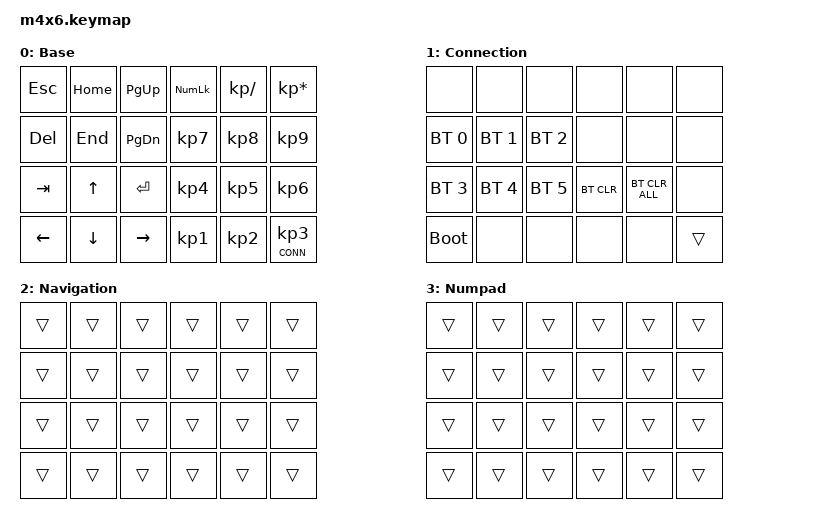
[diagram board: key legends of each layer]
#include <behaviors.dtsi>
#include <dt-bindings/zmk/keys.h>
#include <dt-bindings/zmk/bt.h>
#include <dt-bindings/zmk/outputs.h>

#define BASE 0
#define CONN 1
#define NAV  2
#define NUM  3

// Reserved layers for future expansion
// #define RSV1 4
// #define RSV2 5

/ {
    // Tell ZMK Studio to preserve and expect these empty layers
    studio_properties {
        compatible = "zmk,studio-properties";
        reserved-layers = <1 2>; 
    };

    keymap {
        compatible = "zmk,keymap";

        // LAYER 0: BASE LAYER
        // Nav Cluster (Left 3 cols)  |  Numpad (Right 3 cols)
        base_layer {
            display-name = "Base";
            bindings = <
                &kp ESC    &kp HOME  &kp PG_UP    &kp KP_NUM  &kp KP_DIVIDE  &kp KP_MULTIPLY
                &kp DEL    &kp END   &kp PG_DN    &kp KP_N7   &kp KP_N8      &kp KP_N9
                &kp TAB    &kp UP    &kp ENTER    &kp KP_N4   &kp KP_N5      &kp KP_N6
                &kp LEFT   &kp DOWN  &kp RIGHT    &kp KP_N1   &kp KP_N2      &lt CONN KP_N3
            >;
        };


        // LAYER 1: CONNECTION LAYER (Triggered via bottom-right key)
        // BT 1-6 map exactly to where KP_7, KP_8, KP_9, KP_4, KP_5, KP_6 are on Base.
        conn_layer {
            display-name = "Connection";
            bindings = <
                &none         &none         &none           &none         &none           &none
                &bt BT_SEL 0  &bt BT_SEL 1  &bt BT_SEL 2    &none         &none           &none
                &bt BT_SEL 3  &bt BT_SEL 4  &bt BT_SEL 5    &bt BT_CLR    &bt BT_CLR_ALL  &none
                &bootloader   &none         &none           &none         &none           &trans
            >;
        };

        // LAYER 2: LOWER NAV (Optional expansion)
        nav_layer {
            display-name = "Navigation";
            bindings = <
                &trans  &trans  &trans    &trans  &trans  &trans
                &trans  &trans  &trans    &trans  &trans  &trans
                &trans  &trans  &trans    &trans  &trans  &trans
                &trans  &trans  &trans    &trans  &trans  &trans
            >;
        };

        // LAYER 3: LOWER NUM (Optional expansion)
        num_layer {
            display-name = "Numpad";
            bindings = <
                &trans  &trans  &trans    &trans  &trans  &trans
                &trans  &trans  &trans    &trans  &trans  &trans
                &trans  &trans  &trans    &trans  &trans  &trans
                &trans  &trans  &trans    &trans  &trans  &trans
            >;
        };

        // // LAYER 4: RESERVED 1
        // rsv1_layer {
        //     bindings = <
        //         &trans  &trans  &trans    &trans  &trans  &trans
        //         &trans  &trans  &trans    &trans  &trans  &trans
        //         &trans  &trans  &trans    &trans  &trans  &trans
        //         &trans  &trans  &trans    &trans  &trans  &trans
        //     >;
        // };

        // // LAYER 5: RESERVED 2
        // rsv2_layer {
        //     bindings = <
        //         &trans  &trans  &trans    &trans  &trans  &trans
        //         &trans  &trans  &trans    &trans  &trans  &trans
        //         &trans  &trans  &trans    &trans  &trans  &trans
        //         &trans  &trans  &trans    &trans  &trans  &trans
        //     >;
        // };
    };
};
